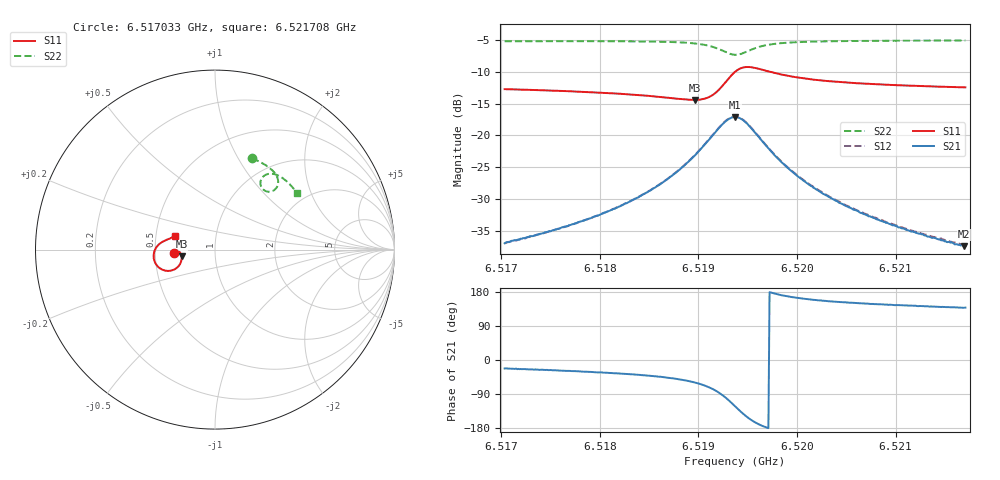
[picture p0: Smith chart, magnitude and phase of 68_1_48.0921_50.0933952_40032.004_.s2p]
#  HZ  S  RI  R  50.00
! Rohde & Schwarz Vector Network Analyzer
! Rohde-Schwarz,ZNB20-2Port,1311601062101988,3.16
! Created: UTC 12/23/2023, 3:41:28 AM
! freq[Hz]  re:S11  im:S11  re:S21  im:S21  re:S12  im:S12  re:S22  im:S22
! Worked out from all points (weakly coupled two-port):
!   401 points, 6.517033 GHz to 6.521708 GHz, reference 50 ohm
!   highest |S21| = -17.11 dB at 6.519371 GHz (marker M1); lowest = -37.4 dB at 6.521696 GHz (marker M2)
!   lowest |S11| = -14.4 dB at 6.518962 GHz (marker M3), VSWR 1.47, Z = 34.2 - j2.59 ohm
!   |S11| at or under -10 dB: start of sweep to 6.519372 GHz; 6.519723 GHz to end of sweep
!   |S22| runs from -7.3 to -5.1 dB; largest |S21 - S12| = 0.0042
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6.5170331e9  -0.2303 -0.0166  0.0132 -0.00543  0.0134 -0.00493  0.2061 0.5082
6.5174656e9  -0.2253 -0.0104  0.0157 -0.00771  0.0159 -0.00728  0.2379 0.4945
6.5178162e9  -0.2201 -0.00645  0.0183 -0.0108  0.0186 -0.0103  0.2638 0.4812
6.5182135e9  -0.2122 -0.00465  0.0228 -0.0164  0.0234 -0.0158  0.2938 0.4624
6.5185992e9  -0.2006 -0.00964  0.0293 -0.0284  0.0305 -0.0277  0.3237 0.4372
6.5188096e9  -0.1921 -0.0201  0.034 -0.042  0.0352 -0.0413  0.3401 0.4163
6.5189615e9  -0.1865 -0.0365  0.0356 -0.0599  0.0375 -0.0591  0.3498 0.3942
6.5190667e9  -0.1865 -0.0563  0.0322 -0.079  0.0349 -0.0786  0.352 0.3729
6.5191485e9  -0.1936 -0.0783  0.0226 -0.0987  0.0254 -0.0989  0.3469 0.3522
6.5192771e9  -0.2368 -0.1147  -0.0216 -0.1276  -0.0181 -0.1292  0.3133 0.3239
6.5193706e9  -0.2953 -0.1111  -0.0738 -0.1184  -0.0711 -0.1213  0.2729 0.3314
6.5194173e9  -0.3205 -0.0923  -0.0944 -0.0991  -0.0921 -0.1026  0.2586 0.3478
6.5194758e9  -0.3384 -0.0606  -0.1066 -0.0697  -0.1056 -0.0731  0.2529 0.3722
6.5195809e9  -0.3376 -0.0099  -0.1004 -0.0261  -0.1005 -0.0293  0.2672 0.4057
6.5196861e9  -0.3211 0.02  -0.083 -0.00339  -0.0836 -0.00578  0.2905 0.4201
6.5199082e9  -0.2899 0.0449  -0.0542 0.0118  -0.0551 0.0103  0.3295 0.421
6.5201536e9  -0.2696 0.0545  -0.0372 0.0142  -0.0379 0.0132  0.3583 0.4099
6.5205042e9  -0.2526 0.0611  -0.0245 0.0132  -0.0252 0.0126  0.3878 0.3901
6.5209367e9  -0.24 0.0676  -0.0167 0.0114  -0.0174 0.0111  0.4161 0.3645
6.5213457e9  -0.2313 0.0732  -0.0124 0.0101  -0.013 0.00985  0.4389 0.3399
6.5216963e9  -0.2254 0.078  -0.0101 0.00905  -0.0106 0.00899  0.4563 0.3179
6.521708e9  -0.2252 0.0781  -0.0101 0.00903  -0.0104 0.0089  0.4568 0.3172
